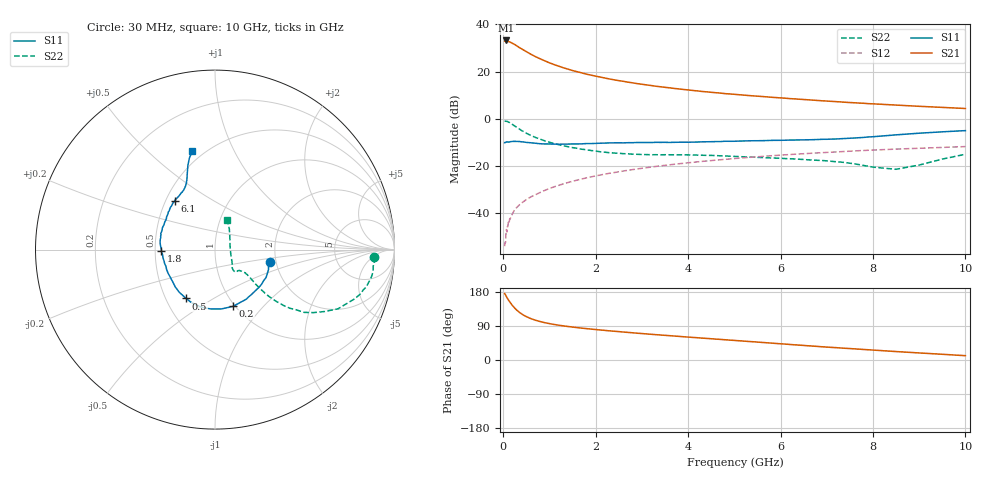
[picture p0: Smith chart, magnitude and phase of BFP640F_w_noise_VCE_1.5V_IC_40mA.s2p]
! Infineon Technologies  Discrete & RF Semiconductors
! BFP640F
! VCE =  1.5 V,  IC =  40 mA
! Common Emitter S-Parameters:  Apr 2013
# GHz  S  MA  R  50
!  f  S11  S21  S12  S22
! GHz  MAG  ANG  MAG  ANG  MAG  ANG  MAG  ANG
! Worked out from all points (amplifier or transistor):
!   99 points, 30 MHz to 10 GHz, reference 50 ohm
!   highest |S21| = 33.2 dB at 70 MHz (marker M1)
!   |S21| within 3 dB of that: start of sweep to 347.7 MHz
!   unconditionally stable (mu >= 1): start of sweep to 35.25 MHz; 1.188 GHz to end of sweep
!   at 350 MHz: K = 0.64, MSG = 33.3 dB, |S12| = -36.5 dB
!   at 3.5 GHz: K = 1.10, MAG = 14.6 dB, |S12| = -19.7 dB
!   at 10 GHz: K = 1.06, MAG = 6.6 dB, |S12| = -11.8 dB
!   lowest NFmin = 1.22 dB at 450 MHz
!   S11 on the Smith chart (normalised r, x): 30 MHz: 1.85, -0.29; 200 MHz: 0.98, -0.70; 500 MHz: 0.63, -0.38; 1.8 GHz: 0.54, -0.01; 6.1 GHz: 0.56, +0.34; 10 GHz: 0.44, +0.70
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0.03  0.3124 -13.0  44.28 175.4  0.002 76.4  0.8888 -2.7
0.05  0.3179 -20.3  45.65 171.7  0.0024 79.8  0.8862 -6.1
0.07  0.3244 -28.7  45.75 167.1  0.0045 93.1  0.8866 -9.2
0.12  0.3214 -48.3  43.16 157.1  0.006 70.5  0.849 -16.8
0.15  0.3266 -57.7  42.3 152.0  0.0076 77.2  0.8133 -20.4
0.2  0.3318 -72.3  39.76 143.6  0.0097 70.9  0.7609 -25.7
0.25  0.3325 -83.9  37.43 136.9  0.012 69.3  0.7007 -29.5
0.35  0.3302 -102.5  32.27 125.7  0.015 69.7  0.6067 -35.2
0.5  0.3161 -120.5  26.53 114.5  0.0194 69.6  0.495 -39.1
0.6  0.3102 -130.0  23.31 109.1  0.0222 69.3  0.4432 -40.3
0.7  0.3034 -137.1  20.71 104.9  0.0247 70.3  0.4022 -40.9
0.9  0.2928 -148.2  16.92 98.5  0.0305 70.3  0.3408 -40.9
1.3  0.291 -164.7  12.08 90.1  0.0418 70.5  0.2688 -39.4
1.7  0.2944 -175.6  9.397 84.1  0.0531 69.4  0.227 -37.7
1.8  0.299 -178.1  8.84 82.8  0.056 69.1  0.2206 -37.9
2.5  0.3102 169.4  6.444 74.9  0.0754 66.3  0.1858 -39.7
3.4  0.3167 156.5  4.779 66.0  0.1006 61.9  0.1727 -44.2
5.1  0.3371 138.7  3.24 50.8  0.1464 52.3  0.1586 -48.6
6.1  0.3519 129.7  2.738 42.0  0.1725 46.4  0.1437 -47.4
6.7  0.3616 123.2  2.488 36.7  0.1868 42.5  0.1339 -44.7
8.5  0.4569 109.7  1.954 22.3  0.228 31.4  0.0852 8.5
10  0.5624 103.1  1.653 11.4  0.2579 22.8  0.1773 67.0
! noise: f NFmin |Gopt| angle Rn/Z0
0.45  1.22  0.25  -172  0.08
0.9  1.22  0.26  -169  0.08
1.5  1.25  0.28  -162  0.09
1.9  1.28  0.29  -155  0.1
2.4  1.3  0.3  -146  0.1
3.5  1.38  0.31  -135  0.12
5.5  1.59  0.33  -117  0.16
10  2.07  0.48  -81  0.56
